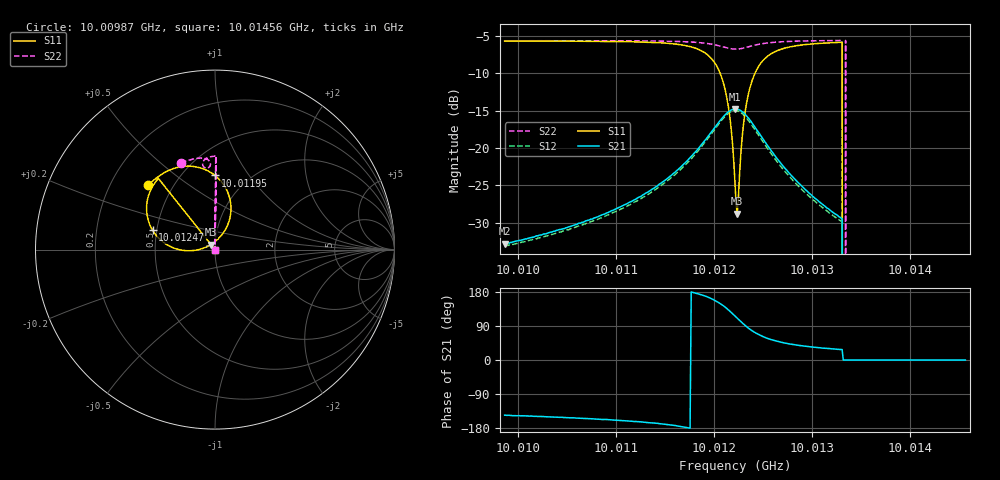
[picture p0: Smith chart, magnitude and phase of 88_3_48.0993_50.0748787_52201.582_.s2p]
#  HZ  S  RI  R  50.00
! Rohde & Schwarz Vector Network Analyzer
! Rohde-Schwarz,ZNB20-2Port,1311601062101988,3.16
! Created: UTC 12/23/2023, 3:43:29 AM
! freq[Hz]  re:S11  im:S11  re:S21  im:S21  re:S12  im:S12  re:S22  im:S22
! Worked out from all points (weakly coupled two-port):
!   401 points, 10.00987 GHz to 10.01456 GHz, reference 50 ohm
!   highest |S21| = -14.80 dB at 10.01222 GHz (marker M1); lowest = -32.8 dB at 10.00987 GHz (marker M2)
!   lowest |S11| = -28.7 dB at 10.01224 GHz (marker M3), VSWR 1.08, Z = 47.6 + j2.64 ohm
!   |S11| at or under -10 dB: 10.01206 GHz to 10.01242 GHz (357.5 kHz wide, 0.00357 % of centre); 10.01331 GHz to end of sweep
!   |S22| runs from - to -5.7 dB; largest |S21 - S12| = 0.0086
!   S11 on the Smith chart (normalised r, x): 10.00987 GHz: 0.36, +0.36; 10.01195 GHz: 0.71, +0.71; 10.01247 GHz: 0.47, +0.12; 10.01456 GHz: 1.00, +0.00
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1.0009868e10  -0.3724 0.3572  -0.0189 -0.013  -0.0176 -0.0134  -0.1895 0.4827
1.0010654e10  -0.3168 0.4065  -0.0287 -0.014  -0.0268 -0.0148  -0.1392 0.5002
1.0011441e10  -0.2109 0.4574  -0.0559 -0.0121  -0.0529 -0.0143  -0.0817 0.5101
1.0011946e10  2.52e-05 0.4131  -0.1167 0.0303  -0.1148 0.0235  -0.0329 0.4949
1.0012051e10  0.0699 0.3216  -0.1302 0.072  -0.1306 0.0634  -0.0256 0.4801
1.0012122e10  0.0888 0.2167  -0.1253 0.112  -0.1269 0.1049  -0.0274 0.4666
1.0012169e10  0.0689 0.133  -0.1082 0.141  -0.1116 0.1334  -0.0334 0.4586
1.0012216e10  0.0144 0.0567  -0.0796 0.1637  -0.0837 0.1566  -0.0432 0.4543
1.0012239e10  -0.0239 0.0276  -0.0625 0.1705  -0.0662 0.1641  -0.0486 0.4539
1.0012251e10  -0.0449 0.016  -0.0537 0.1724  -0.0574 0.1661  -0.0513 0.4543
1.0012298e10  -0.1349 -0.00623  -0.0182 0.1719  -0.0228 0.1661  -0.0608 0.4591
1.0012333e10  -0.1981 -0.000678  0.00549 0.1638  0.000312 0.1585  -0.0655 0.4648
1.0012474e10  -0.3479 0.1083  0.0513 0.1107  0.0461 0.1072  -0.0664 0.4893
1.0013002e10  -0.349 0.3502  0.0396 0.027  0.0365 0.0275  -0.0199 0.5183
1.0013284e10  -0.3181 0.394  0.0305 0.0162  0.0283 0.0168  0.0024 0.5209
1.0013307e10  -0.3157 0.3967  0.03 0.0156  0.0277 0.0164  0.00401 0.5211
1.0013319e10  0 0  0 0  0 0  0 0
1.0013342e10  0 0  0 0  0 0  0.00663 0.5213
1.0013366e10  0 0  0 0  0 0  0 0
1.0013378e10  0 0  0 0  0 0  0 0
1.0013789e10  0 0  0 0  0 0  0 0
1.0014563e10  0 0  0 0  0 0  0 0
